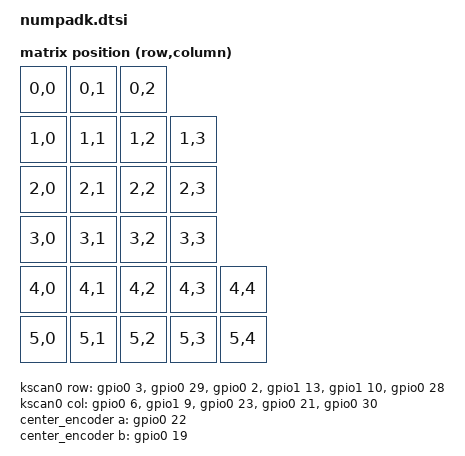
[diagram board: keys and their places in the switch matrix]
/*
 * Copyright (c) 2021 The ZMK Contributors
 *
 * SPDX-License-Identifier: MIT
 */

#include <dt-bindings/zmk/matrix_transform.h>
#include <dt-bindings/led/led.h>
/ {
    chosen {
        zmk,kscan = &kscan0;
        zmk,matrix_transform = &default_transform;
        zephyr,display = &oled;
        zmk,underglow = &led_strip;
    };

    default_transform: keymap_transform_0 {
        compatible = "zmk,matrix-transform";
        columns = <5>;
        rows = <6>;
        map = <
                RC(0,0) RC(0,1) RC(0,2)  
                RC(1,0) RC(1,1) RC(1,2) RC(1,3)
                RC(2,0) RC(2,1) RC(2,2) RC(2,3) 
                RC(3,0) RC(3,1) RC(3,2) RC(3,3)
                RC(4,0) RC(4,1) RC(4,2) RC(4,3) RC(4,4)
                RC(5,0) RC(5,1) RC(5,2) RC(5,3) RC(5,4)
        >;
    };

    kscan0: kscan {
        compatible = "zmk,kscan-gpio-matrix";

        diode-direction = "row2col";
		col-gpios
			= <&gpio0 6 (GPIO_ACTIVE_HIGH | GPIO_PULL_DOWN)>
			, <&gpio1 9 (GPIO_ACTIVE_HIGH | GPIO_PULL_DOWN)>
			, <&gpio0 23 (GPIO_ACTIVE_HIGH | GPIO_PULL_DOWN)>
			, <&gpio0 21 (GPIO_ACTIVE_HIGH | GPIO_PULL_DOWN)>
			, <&gpio0 30 (GPIO_ACTIVE_HIGH | GPIO_PULL_DOWN)>
			;
		row-gpios
			= <&gpio0 3 GPIO_ACTIVE_HIGH >
			, <&gpio0 29 GPIO_ACTIVE_HIGH>
			, <&gpio0 2  GPIO_ACTIVE_HIGH>
			, <&gpio1 13 GPIO_ACTIVE_HIGH>
            , <&gpio1 10 GPIO_ACTIVE_HIGH>
            , <&gpio0 28 GPIO_ACTIVE_HIGH>
			;

    };
    center_encoder: encoder_center {
		compatible = "alps,ec11";
		label = "CENTER_ENCODER";
		a-gpios = <&gpio0 22 (GPIO_ACTIVE_HIGH | GPIO_PULL_UP)>;
		b-gpios = <&gpio0 19 (GPIO_ACTIVE_HIGH | GPIO_PULL_UP)>;
		status = "okay";
	};
	sensors {
		compatible = "zmk,keymap-sensors";
        triggers-per-rotation = <24>;
		sensors = <&center_encoder>;
	};

};

&pinctrl {
    i2c0_default: i2c0_default {
        group1 {
            psels = <NRF_PSEL(TWIM_SDA, 0, 12)>,
                <NRF_PSEL(TWIM_SCL, 0, 20)>;
        };
    };

    i2c0_sleep: i2c0_sleep {
        group1 {
            psels = <NRF_PSEL(TWIM_SDA, 0, 12)>,
                <NRF_PSEL(TWIM_SCL, 0, 20)>;
            low-power-enable;
        };
    };

    spi3_default: spi3_default {
        group1 {
            psels = <NRF_PSEL(SPIM_MOSI, 0, 8)>;
        };
    };

    spi3_sleep: spi3_sleep {
        group1 {
            psels = <NRF_PSEL(SPIM_MOSI, 0, 8)>;
            low-power-enable;
		};
	};
};

&i2c0 {
	status = "okay";

	compatible = "nordic,nrf-twi";
    pinctrl-0 = <&i2c0_default>;
    pinctrl-1 = <&i2c0_sleep>;
	oled: ssd1306@3c {
        compatible = "solomon,ssd1306fb";
        reg = <0x3c>;
        width = <128>;
        height = <32>;
        segment-offset = <0>;
        page-offset = <0>;
        display-offset = <0>;
        multiplex-ratio = <31>;
        segment-remap;
        com-invdir;
        com-sequential;
        inversion-on;
        prechargep = <0x22>;
	};
};

&spi3 {
	compatible = "nordic,nrf-spim";
	status = "okay";

	pinctrl-0 = <&spi3_default>;
	pinctrl-1 = <&spi3_sleep>;
	pinctrl-names = "default", "sleep";


	led_strip: ws2812@0 {
		compatible = "worldsemi,ws2812-spi";
		label = "WS2812";

		/* SPI */
		reg = <0>; /* ignored, but necessary for SPI bindings */
		spi-max-frequency = <4000000>;

		/* WS2812 */
		chain-length = <20>; /* There are per-key RGB, but the first 6 are underglow */
		spi-one-frame = <0x70>;
		spi-zero-frame = <0x40>;
		color-mapping = <LED_COLOR_ID_GREEN LED_COLOR_ID_RED LED_COLOR_ID_BLUE>;
	};
};
